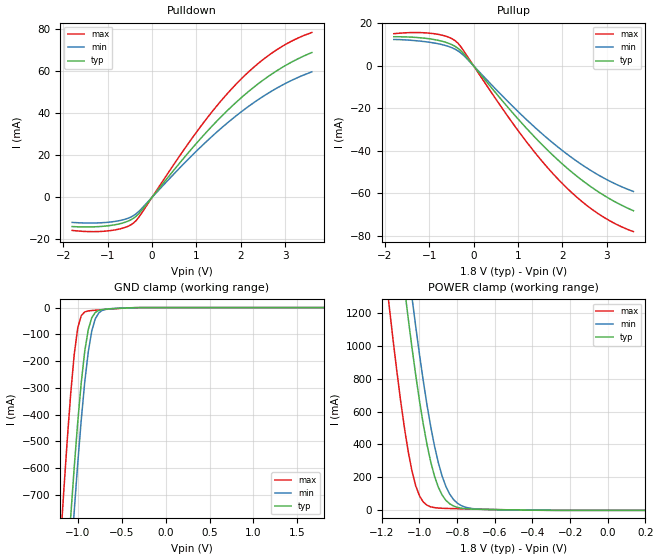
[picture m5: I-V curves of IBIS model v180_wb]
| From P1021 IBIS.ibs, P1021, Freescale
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|   Model v180_wb
[Model]   v180_wb
Model_type   I/O
Polarity   Non-Inverting
Enable   Active-High
Vinl =   0.63V
Vinh =   1.17V
Vmeas =  0.9000V
Cref =   0.0F
Rref =   50.0000
Vref =   0.9000V
C_comp   3.0088pF   2.9071pF   3.0187pF
[Temperature Range]   85.0000   0.1250k   -40.0000
[Voltage Range]   1.8000V   1.6200V   1.9800V
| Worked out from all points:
|   slope of the pulldown table from 0 to 0.27 V, typ, clamps not added: 37.7 ohm
|   slope of the pullup table from 0 to 0.27 V, typ, clamps not added: 38.8 ohm
|   GND clamp passes 1 mA (typ) near -0.40 V on its own axis
|   POWER clamp passes 1 mA (typ) near -0.37 V on its own axis
[Pulldown]
|Voltage   I(typ)   I(min)   I(max)
-1.8V     -13.88mA   -11.92mA   -15.72mA
-960mV    -13.44mA   -11.78mA   -15.87mA
-660mV    -12.18mA   -10.72mA   -14.65mA
-420mV    -9.968mA   -8.714mA   -12.27mA
-240mV    -6.338mA   -5.45mA    -7.688mA
1.02V     26.17mA    22.4mA     31.55mA
1.44V     35.82mA    30.68mA    43mA
1.8V      43.35mA    37.18mA    51.74mA
2.28V     52.16mA    44.86mA    61.66mA
2.7V      58.68mA    50.6mA     68.63mA
3.12V     64.06mA    55.38mA    74.03mA
3.6V      68.88mA    59.7mA     78.4mA
[Pullup]
|Voltage   I(typ)   I(min)   I(max)
-1.8V     13.74mA    12.45mA    15.18mA
-960mV    12.66mA    11.03mA    15.35mA
-660mV    11.32mA    9.756mA    14.2mA
-420mV    9.224mA    7.887mA    11.92mA
-240mV    6.083mA    5.212mA    7.553mA
1.02V     -25.47mA   -21.92mA   -31.03mA
1.44V     -34.96mA   -30.11mA   -42.38mA
1.86V     -43.59mA   -37.59mA   -52.44mA
2.28V     -51.22mA   -44.27mA   -61.05mA
2.7V      -57.8mA    -50.06mA   -68.1mA
3.12V     -63.29mA   -54.88mA   -73.61mA
3.6V      -68.25mA   -59.18mA   -78.11mA
[GND_clamp]
|Voltage   I(typ)   I(min)   I(max)
-1.8V     -4.804A    -4.965A    -4.352A
-1.2V     -1.391A    -1.566A    -898mA
-1.16V    -1.182A    -1.356A    -692.5mA
-1.08V    -783mA     -952.3mA   -322.2mA
-1.04V    -598.3mA   -762.1mA   -175.8mA
-1V       -428.7mA   -583.2mA   -76.41mA
-920mV    -162.7mA   -278.3mA   -16.12mA
-880mV    -82.2mA    -165.4mA   -12.47mA
-840mV    -37.92mA   -87mA      -10.97mA
-800mV    -18.2mA    -41.64mA   -9.843mA
-720mV    -7.422mA   -10.26mA   -7.766mA
1.8V      9.036uA    41.65uA    11.05uA
[POWER_clamp]
|Voltage   I(typ)   I(min)   I(max)
-1.8V     9.621A     9.869A     8.815A
-1.16V    2.159A     2.491A     1.232A
-1.08V    1.354A     1.674A     501.9mA
-1.06V    1.168A     1.482A     358.5mA
-1.04V    989.9mA    1.296A     239.6mA
-1V       666mA      947mA      88.04mA
-960mV    399.2mA    640.1mA    31.27mA
-920mV    207mA      389.6mA    16.4mA
-880mV    93.61mA    209mA      12.71mA
-840mV    40.16mA    99.64mA    11.19mA
-780mV    13.9mA     30.06mA    9.524mA
200mV     0A         0A         0A
[Ramp]
| variable   typ   min   max
dV/dt_r  0.6027/0.3566n   0.5062/0.4989n   0.7208/0.2171n
dV/dt_f  0.6105/0.3135n   0.5122/0.4426n   0.7259/0.2039n
R_load = 50.0000
|End [Model] v180_wb
